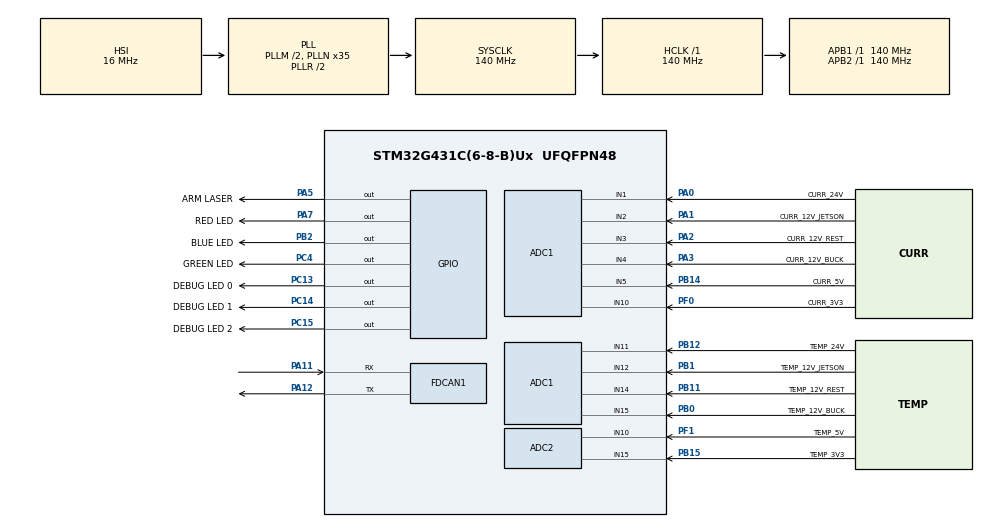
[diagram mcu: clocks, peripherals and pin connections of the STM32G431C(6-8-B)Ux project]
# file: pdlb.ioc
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ADC1.Channel-0\#ChannelRegularConversion=ADC_CHANNEL_1
ADC1.Channel-1\#ChannelRegularConversion=ADC_CHANNEL_2
ADC1.Channel-2\#ChannelRegularConversion=ADC_CHANNEL_3
ADC1.Channel-3\#ChannelRegularConversion=ADC_CHANNEL_4
ADC1.Channel-4\#ChannelRegularConversion=ADC_CHANNEL_5
ADC1.Channel-5\#ChannelRegularConversion=ADC_CHANNEL_10
ADC1.Channel-6\#ChannelRegularConversion=ADC_CHANNEL_11
ADC1.Channel-7\#ChannelRegularConversion=ADC_CHANNEL_12
ADC1.Channel-8\#ChannelRegularConversion=ADC_CHANNEL_14
ADC1.Channel-9\#ChannelRegularConversion=ADC_CHANNEL_15
ADC1.NbrOfConversion=10
ADC1.NbrOfConversionFlag=1
ADC1.OffsetNumber-0\#ChannelRegularConversion=ADC_OFFSET_NONE
ADC1.OffsetNumber-1\#ChannelRegularConversion=ADC_OFFSET_NONE
ADC1.OffsetNumber-2\#ChannelRegularConversion=ADC_OFFSET_NONE
ADC1.OffsetNumber-3\#ChannelRegularConversion=ADC_OFFSET_NONE
ADC1.OffsetNumber-4\#ChannelRegularConversion=ADC_OFFSET_NONE
ADC1.OffsetNumber-5\#ChannelRegularConversion=ADC_OFFSET_NONE
ADC1.OffsetNumber-6\#ChannelRegularConversion=ADC_OFFSET_NONE
ADC1.OffsetNumber-7\#ChannelRegularConversion=ADC_OFFSET_NONE
ADC1.OffsetNumber-8\#ChannelRegularConversion=ADC_OFFSET_NONE
ADC1.OffsetNumber-9\#ChannelRegularConversion=ADC_OFFSET_NONE
ADC1.Rank-0\#ChannelRegularConversion=1
ADC1.Rank-1\#ChannelRegularConversion=2
ADC1.Rank-2\#ChannelRegularConversion=3
ADC1.Rank-3\#ChannelRegularConversion=4
ADC1.Rank-4\#ChannelRegularConversion=5
ADC1.Rank-5\#ChannelRegularConversion=6
ADC1.Rank-6\#ChannelRegularConversion=7
ADC1.Rank-7\#ChannelRegularConversion=8
ADC1.Rank-8\#ChannelRegularConversion=9
ADC1.Rank-9\#ChannelRegularConversion=10
ADC1.SamplingTime-0\#ChannelRegularConversion=ADC_SAMPLETIME_12CYCLES_5
ADC1.SamplingTime-1\#ChannelRegularConversion=ADC_SAMPLETIME_12CYCLES_5
ADC1.SamplingTime-2\#ChannelRegularConversion=ADC_SAMPLETIME_12CYCLES_5
ADC1.SamplingTime-3\#ChannelRegularConversion=ADC_SAMPLETIME_12CYCLES_5
ADC1.SamplingTime-4\#ChannelRegularConversion=ADC_SAMPLETIME_12CYCLES_5
ADC1.SamplingTime-5\#ChannelRegularConversion=ADC_SAMPLETIME_12CYCLES_5
ADC1.SamplingTime-6\#ChannelRegularConversion=ADC_SAMPLETIME_12CYCLES_5
ADC1.SamplingTime-7\#ChannelRegularConversion=ADC_SAMPLETIME_12CYCLES_5
ADC1.SamplingTime-8\#ChannelRegularConversion=ADC_SAMPLETIME_12CYCLES_5
ADC1.SamplingTime-9\#ChannelRegularConversion=ADC_SAMPLETIME_12CYCLES_5
ADC1.master=1
ADC2.Channel-0\#ChannelRegularConversion=ADC_CHANNEL_10
ADC2.Channel-1\#ChannelRegularConversion=ADC_CHANNEL_15
ADC2.NbrOfConversion=2
ADC2.NbrOfConversionFlag=1
ADC2.OffsetNumber-0\#ChannelRegularConversion=ADC_OFFSET_NONE
ADC2.OffsetNumber-1\#ChannelRegularConversion=ADC_OFFSET_NONE
ADC2.Rank-0\#ChannelRegularConversion=1
ADC2.Rank-1\#ChannelRegularConversion=2
ADC2.SamplingTime-0\#ChannelRegularConversion=ADC_SAMPLETIME_640CYCLES_5
ADC2.SamplingTime-1\#ChannelRegularConversion=ADC_SAMPLETIME_640CYCLES_5
Dma.ADC1.0.Direction=DMA_PERIPH_TO_MEMORY
Dma.ADC1.0.EventEnable=DISABLE
Dma.ADC1.0.Instance=DMA1_Channel1
Dma.ADC1.0.MemDataAlignment=DMA_MDATAALIGN_WORD
Dma.ADC1.0.MemInc=DMA_MINC_ENABLE
Dma.ADC1.0.Mode=DMA_NORMAL
Dma.ADC1.0.PeriphDataAlignment=DMA_PDATAALIGN_WORD
Dma.ADC1.0.PeriphInc=DMA_PINC_DISABLE
Dma.ADC1.0.Polarity=HAL_DMAMUX_REQ_GEN_RISING
Dma.ADC1.0.Priority=DMA_PRIORITY_LOW
Dma.ADC1.0.RequestNumber=1
Dma.ADC1.0.SignalID=NONE
Dma.ADC1.0.SyncEnable=DISABLE
Dma.ADC1.0.SyncPolarity=HAL_DMAMUX_SYNC_NO_EVENT
Dma.ADC1.0.SyncRequestNumber=1
Dma.ADC1.0.SyncSignalID=NONE
Dma.ADC2.1.Direction=DMA_PERIPH_TO_MEMORY
Dma.ADC2.1.EventEnable=DISABLE
Dma.ADC2.1.Instance=DMA1_Channel2
Dma.ADC2.1.MemDataAlignment=DMA_MDATAALIGN_WORD
Dma.ADC2.1.MemInc=DMA_MINC_ENABLE
Dma.ADC2.1.Mode=DMA_NORMAL
Dma.ADC2.1.PeriphDataAlignment=DMA_PDATAALIGN_WORD
Dma.ADC2.1.PeriphInc=DMA_PINC_DISABLE
Dma.ADC2.1.Polarity=HAL_DMAMUX_REQ_GEN_RISING
Dma.ADC2.1.Priority=DMA_PRIORITY_LOW
Dma.ADC2.1.RequestNumber=1
Dma.ADC2.1.SignalID=NONE
Dma.ADC2.1.SyncEnable=DISABLE
Dma.ADC2.1.SyncPolarity=HAL_DMAMUX_SYNC_NO_EVENT
Dma.ADC2.1.SyncRequestNumber=1
Dma.ADC2.1.SyncSignalID=NONE
Dma.Request0=ADC1
Dma.Request1=ADC2
FDCAN1.AutoRetransmission=ENABLE
FDCAN1.CalculateBaudRateNominal=1000000
FDCAN1.CalculateTimeBitNominal=1000
FDCAN1.CalculateTimeQuantumNominal=7.142857142857143
FDCAN1.DataPrescaler=5
FDCAN1.DataSyncJumpWidth=13
FDCAN1.DataTimeSeg1=14
FDCAN1.DataTimeSeg2=13
FDCAN1.ExtFiltersNbr=1
FDCAN1.FrameFormat=FDCAN_FRAME_FD_NO_BRS
FDCAN1.NominalPrescaler=1
FDCAN1.NominalSyncJumpWidth=19
FDCAN1.NominalTimeSeg1=120
FDCAN1.NominalTimeSeg2=19
FDCAN1.TransmitPause=DISABLE
FREERTOS.Tasks01=defaultTask,24,128,StartDefaultTask,Default,NULL,Dynamic,NULL,NULL
Mcu.Family=STM32G4
Mcu.Name=STM32G431C(6-8-B)Ux
Mcu.Package=UFQFPN48
NVIC.DMA1_Channel1_IRQn=true\:5\:0\:false\:false\:true\:true\:false\:true\:true
NVIC.DMA1_Channel2_IRQn=true\:5\:0\:false\:false\:true\:true\:false\:true\:true
NVIC.FDCAN1_IT0_IRQn=true\:5\:0\:false\:false\:true\:true\:true\:true\:true
NVIC.FDCAN1_IT1_IRQn=true\:5\:0\:false\:false\:true\:true\:true\:true\:true
NVIC.PriorityGroup=NVIC_PRIORITYGROUP_4
PA0.GPIO_Label=CURR_24V
PA0.Mode=IN1-Single-Ended
PA0.Signal=ADC1_IN1
PA1.GPIO_Label=CURR_12V_JETSON
PA1.Mode=IN2-Single-Ended
PA1.Signal=ADC1_IN2
PA11.Mode=FDCAN_Activate
PA11.Signal=FDCAN1_RX
PA12.Mode=FDCAN_Activate
PA12.Signal=FDCAN1_TX
PA13.Mode=Serial_Wire
PA13.Signal=SYS_JTMS-SWDIO
PA14.Mode=Serial_Wire
PA14.Signal=SYS_JTCK-SWCLK
PA2.GPIO_Label=CURR_12V_REST
PA2.Mode=IN3-Single-Ended
PA2.Signal=ADC1_IN3
PA3.GPIO_Label=CURR_12V_BUCK
PA3.Mode=IN4-Single-Ended
PA3.Signal=ADC1_IN4
PA5.GPIO_Label=ARM LASER
PA5.Signal=GPIO_Output
PA7.GPIO_Label=RED LED
PA7.Signal=GPIO_Output
PB0.GPIO_Label=TEMP_12V_BUCK
PB0.Mode=IN15-Single-Ended
PB0.Signal=ADC1_IN15
PB1.GPIO_Label=TEMP_12V_JETSON
PB1.Mode=IN12-Single-Ended
PB1.Signal=ADC1_IN12
PB11.GPIO_Label=TEMP_12V_REST
PB11.Mode=IN14-Single-Ended
PB11.Signal=ADC1_IN14
PB12.GPIO_Label=TEMP_24V
PB12.Mode=IN11-Single-Ended
PB12.Signal=ADC1_IN11
PB14.GPIO_Label=CURR_5V
PB14.Mode=IN5-Single-Ended
PB14.Signal=ADC1_IN5
PB15.GPIO_Label=TEMP_3V3
PB15.Mode=IN15-Single-Ended
PB15.Signal=ADC2_IN15
PB2.GPIO_Label=BLUE LED
PB2.Signal=GPIO_Output
PC13.GPIO_Label=DEBUG LED 0
PC13.Signal=GPIO_Output
PC14-OSC32_IN.GPIO_Label=DEBUG LED 1
PC14-OSC32_IN.Signal=GPIO_Output
PC15-OSC32_OUT.GPIO_Label=DEBUG LED 2
PC15-OSC32_OUT.Signal=GPIO_Output
PC4.GPIO_Label=GREEN LED
PC4.Signal=GPIO_Output
PF0-OSC_IN.GPIO_Label=CURR_3V3
PF0-OSC_IN.Mode=IN10-Single-Ended
PF0-OSC_IN.Signal=ADC1_IN10
PF1-OSC_OUT.GPIO_Label=TEMP_5V
PF1-OSC_OUT.Mode=IN10-Single-Ended
PF1-OSC_OUT.Signal=ADC2_IN10
ProjectManager.HeapSize=0x200
ProjectManager.StackSize=0x400
ProjectManager.TargetToolchain=STM32CubeIDE
RCC.ADC12Freq_Value=140000000
RCC.AHBFreq_Value=140000000
RCC.APB1Freq_Value=140000000
RCC.APB1TimFreq_Value=140000000
RCC.APB2Freq_Value=140000000
RCC.APB2TimFreq_Value=140000000
RCC.CortexFreq_Value=140000000
RCC.EXTERNAL_CLOCK_VALUE=12288000
RCC.HCLKFreq_Value=140000000
RCC.HSE_VALUE=8000000
RCC.HSI48_VALUE=48000000
RCC.HSI_VALUE=16000000
RCC.LSE_VALUE=32768
RCC.PLLM=RCC_PLLM_DIV2
RCC.PLLN=35
RCC.SYSCLKFreq_VALUE=140000000
RCC.SYSCLKSource=RCC_SYSCLKSOURCE_PLLCLK
RCC.USBFreq_Value=140000000
RCC.VCOOutputFreq_Value=280000000
VP_FREERTOS_VS_CMSIS_V2.Mode=CMSIS_V2
board=custom

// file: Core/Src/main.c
/* USER CODE BEGIN Header */
/**
  ******************************************************************************
  * @file           : main.c
  * @brief          : Main program body
  ******************************************************************************
  * @attention
  *
  * Copyright (c) 2023 STMicroelectronics.
  * All rights reserved.
  *
  * This software is licensed under terms that can be found in the LICENSE file
  * in the root directory of this software component.
  * If no LICENSE file comes with this software, it is provided AS-IS.
  *
  ******************************************************************************
  */
/* USER CODE END Header */
#include "main.h"
#include "cmsis_os.h"

ADC_HandleTypeDef hadc1;
ADC_HandleTypeDef hadc2;
DMA_HandleTypeDef hdma_adc1;
DMA_HandleTypeDef hdma_adc2;

FDCAN_HandleTypeDef hfdcan1;

/* Definitions for defaultTask */
osThreadId_t defaultTaskHandle;
const osThreadAttr_t defaultTask_attributes = {
  .name = "defaultTask",
  .priority = (osPriority_t) osPriorityNormal,
  .stack_size = 128 * 4
};
/* USER CODE BEGIN PV */

// No more FreeRTOS receiving
// osThreadId_t ReceiveMessagesHandle;
// const osThreadAttr_t ReceiveMessages_attributes = {
//   .name = "ReceiveMessages",
//   .priority = (osPriority_t) osPriorityNormal,
//   .stack_size = 128 * 4
// };

osThreadId_t SendCurrentTemperatureHandle;
const osThreadAttr_t SendCurrentTemperature_attributes = {
  .name = "SendCurrentTemperature",
  .priority = (osPriority_t) osPriorityNormal,
  .stack_size = 128 * 4
};

osThreadId_t BlinkAutonLedHandle;
const osThreadAttr_t BlinkAutonLed_attributes = {
  .name = "BlinkAutonLed",
  .priority = (osPriority_t) osPriorityNormal,
  .stack_size = 128 * 4
};

/* USER CODE END PV */

void SystemClock_Config(void);
static void MX_GPIO_Init(void);
static void MX_DMA_Init(void);
static void MX_ADC1_Init(void);
static void MX_FDCAN1_Init(void);
static void MX_ADC2_Init(void);
void StartDefaultTask(void *argument);

/* USER CODE BEGIN PFP */
void SendCurrentTemperature(void *argument);
void BlinkAutonLed(void *argument);

/* USER CODE END PFP */

int main(void)
{

  /* MCU Configuration--------------------------------------------------------*/

  /* Reset of all peripherals, Initializes the Flash interface and the Systick. */
  HAL_Init();

  /* Configure the system clock */
  SystemClock_Config();

  /* USER CODE BEGIN SysInit */

  /* USER CODE BEGIN SysInit */
  // TODO(quintin)  Figure out why the HAL does not configure this properly
  //                See: https://community.st.com/t5/stm32-mcus-products/hal-delay-stuck-systick-not-triggered-workaround-for-stm32f105/td-p/585510
  //                Without this HAL_Delay does not work (SysTick_Handler is never called)
#ifdef VECT_TAB_SRAM
  SCB->VTOR = SRAM_BASE;
#else
  SCB->VTOR = FLASH_BASE;
#endif

  if ((FLASH->OPTR & FLASH_OPTR_nSWBOOT0_Msk) != 0x0 || ((FLASH->OPTR & FLASH_OPTR_nBOOT0_Msk) == 0x0))
      {
          while ((FLASH->SR & FLASH_SR_BSY_Msk) != 0x0) { ; }
          FLASH->KEYR = 0x45670123;
          while ((FLASH->SR & FLASH_SR_BSY_Msk) != 0x0) { ; }
          FLASH->KEYR = 0xCDEF89AB;

          while ((FLASH->SR & FLASH_SR_BSY_Msk) != 0x0) { ; }
          FLASH->OPTKEYR = 0x08192A3B;
          while ((FLASH->SR & FLASH_SR_BSY_Msk) != 0x0) { ; }
          FLASH->OPTKEYR = 0x4C5D6E7F;

          while ((FLASH->SR & FLASH_SR_BSY_Msk) != 0x0) { ; }
          FLASH->OPTR = (FLASH->OPTR & ~(FLASH_OPTR_nSWBOOT0_Msk)) | FLASH_OPTR_nBOOT0_Msk;

          while ((FLASH->SR & FLASH_SR_BSY_Msk) != 0x0) { ; }
          FLASH->CR = FLASH->CR | FLASH_CR_OPTSTRT;

          while ((FLASH->SR & FLASH_SR_BSY_Msk) != 0x0) { ; }
      }

  /* USER CODE END SysInit */

  /* Initialize all configured peripherals */
  MX_GPIO_Init();
  MX_DMA_Init();
  MX_ADC1_Init();
  MX_FDCAN1_Init();
  MX_ADC2_Init();
  /* USER CODE BEGIN 2 */

  init();

  /* USER CODE END 2 */

  /* Init scheduler */
  osKernelInitialize();

  /* Create the thread(s) */
  /* creation of defaultTask */
  defaultTaskHandle = osThreadNew(StartDefaultTask, NULL, &defaultTask_attributes);

  /* USER CODE BEGIN RTOS_THREADS */

  SendCurrentTemperatureHandle = osThreadNew(SendCurrentTemperature, NULL, &SendCurrentTemperature_attributes);
  BlinkAutonLedHandle = osThreadNew(BlinkAutonLed, NULL, &BlinkAutonLed_attributes);
  /* add threads, ... */
  /* USER CODE END RTOS_THREADS */

  /* Start scheduler */
  osKernelStart();

  /* We should never get here as control is now taken by the scheduler */
  /* Infinite loop */
  while (1)
  {

  }
}

void SystemClock_Config(void)
{
  RCC_OscInitTypeDef RCC_OscInitStruct = {0};
  RCC_ClkInitTypeDef RCC_ClkInitStruct = {0};

  /** Configure the main internal regulator output voltage
  */
  HAL_PWREx_ControlVoltageScaling(PWR_REGULATOR_VOLTAGE_SCALE1);

  /** Initializes the RCC Oscillators according to the specified parameters
  * in the RCC_OscInitTypeDef structure.
  */
  RCC_OscInitStruct.OscillatorType = RCC_OSCILLATORTYPE_HSI;
  RCC_OscInitStruct.HSIState = RCC_HSI_ON;
  RCC_OscInitStruct.HSICalibrationValue = RCC_HSICALIBRATION_DEFAULT;
  RCC_OscInitStruct.PLL.PLLState = RCC_PLL_ON;
  RCC_OscInitStruct.PLL.PLLSource = RCC_PLLSOURCE_HSI;
  RCC_OscInitStruct.PLL.PLLM = RCC_PLLM_DIV2;
  RCC_OscInitStruct.PLL.PLLN = 35;
  RCC_OscInitStruct.PLL.PLLP = RCC_PLLP_DIV2;
  RCC_OscInitStruct.PLL.PLLQ = RCC_PLLQ_DIV2;
  RCC_OscInitStruct.PLL.PLLR = RCC_PLLR_DIV2;
  if (HAL_RCC_OscConfig(&RCC_OscInitStruct) != HAL_OK)
  {
    Error_Handler();
  }

  /** Initializes the CPU, AHB and APB buses clocks
  */
  RCC_ClkInitStruct.ClockType = RCC_CLOCKTYPE_HCLK|RCC_CLOCKTYPE_SYSCLK
                              |RCC_CLOCKTYPE_PCLK1|RCC_CLOCKTYPE_PCLK2;
  RCC_ClkInitStruct.SYSCLKSource = RCC_SYSCLKSOURCE_PLLCLK;
  RCC_ClkInitStruct.AHBCLKDivider = RCC_SYSCLK_DIV1;
  RCC_ClkInitStruct.APB1CLKDivider = RCC_HCLK_DIV1;
  RCC_ClkInitStruct.APB2CLKDivider = RCC_HCLK_DIV1;

  if (HAL_RCC_ClockConfig(&RCC_ClkInitStruct, FLASH_LATENCY_4) != HAL_OK)
  {
    Error_Handler();
  }
}

static void MX_ADC1_Init(void)
{

  ADC_MultiModeTypeDef multimode = {0};
  ADC_ChannelConfTypeDef sConfig = {0};

  /** Common config
  */
  hadc1.Instance = ADC1;
  hadc1.Init.ClockPrescaler = ADC_CLOCK_SYNC_PCLK_DIV4;
  hadc1.Init.Resolution = ADC_RESOLUTION_12B;
  hadc1.Init.DataAlign = ADC_DATAALIGN_RIGHT;
  hadc1.Init.GainCompensation = 0;
  hadc1.Init.ScanConvMode = ADC_SCAN_ENABLE;
  hadc1.Init.EOCSelection = ADC_EOC_SINGLE_CONV;
  hadc1.Init.LowPowerAutoWait = DISABLE;
  hadc1.Init.ContinuousConvMode = DISABLE;
  hadc1.Init.NbrOfConversion = 10;
  hadc1.Init.DiscontinuousConvMode = DISABLE;
  hadc1.Init.ExternalTrigConv = ADC_SOFTWARE_START;
  hadc1.Init.ExternalTrigConvEdge = ADC_EXTERNALTRIGCONVEDGE_NONE;
  hadc1.Init.DMAContinuousRequests = DISABLE;
  hadc1.Init.Overrun = ADC_OVR_DATA_PRESERVED;
  hadc1.Init.OversamplingMode = DISABLE;
  if (HAL_ADC_Init(&hadc1) != HAL_OK)
  {
    Error_Handler();
  }

  /** Configure the ADC multi-mode
  */
  multimode.Mode = ADC_MODE_INDEPENDENT;
  if (HAL_ADCEx_MultiModeConfigChannel(&hadc1, &multimode) != HAL_OK)
  {
    Error_Handler();
  }

  /** Configure Regular Channel
  */
  sConfig.Channel = ADC_CHANNEL_1;
  sConfig.Rank = ADC_REGULAR_RANK_1;
  sConfig.SamplingTime = ADC_SAMPLETIME_12CYCLES_5;
  sConfig.SingleDiff = ADC_SINGLE_ENDED;
  sConfig.OffsetNumber = ADC_OFFSET_NONE;
  sConfig.Offset = 0;
  if (HAL_ADC_ConfigChannel(&hadc1, &sConfig) != HAL_OK)
  {
    Error_Handler();
  }

  /** Configure Regular Channel
  */
  sConfig.Channel = ADC_CHANNEL_2;
  sConfig.Rank = ADC_REGULAR_RANK_2;
  if (HAL_ADC_ConfigChannel(&hadc1, &sConfig) != HAL_OK)
  {
    Error_Handler();
  }

  /** Configure Regular Channel
  */
  sConfig.Channel = ADC_CHANNEL_3;
  sConfig.Rank = ADC_REGULAR_RANK_3;
  if (HAL_ADC_ConfigChannel(&hadc1, &sConfig) != HAL_OK)
  {
    Error_Handler();
  }

  /** Configure Regular Channel
  */
  sConfig.Channel = ADC_CHANNEL_4;
  sConfig.Rank = ADC_REGULAR_RANK_4;
  if (HAL_ADC_ConfigChannel(&hadc1, &sConfig) != HAL_OK)
  {
    Error_Handler();
  }

  /** Configure Regular Channel
  */
  sConfig.Channel = ADC_CHANNEL_5;
  sConfig.Rank = ADC_REGULAR_RANK_5;
  if (HAL_ADC_ConfigChannel(&hadc1, &sConfig) != HAL_OK)
  {
    Error_Handler();
  }

  /** Configure Regular Channel
  */
  sConfig.Channel = ADC_CHANNEL_10;
  sConfig.Rank = ADC_REGULAR_RANK_6;
  if (HAL_ADC_ConfigChannel(&hadc1, &sConfig) != HAL_OK)
  {
    Error_Handler();
  }

  /** Configure Regular Channel
  */
  sConfig.Channel = ADC_CHANNEL_11;
  sConfig.Rank = ADC_REGULAR_RANK_7;
  if (HAL_ADC_ConfigChannel(&hadc1, &sConfig) != HAL_OK)
  {
    Error_Handler();
  }

  /** Configure Regular Channel
  */
  sConfig.Channel = ADC_CHANNEL_12;
  sConfig.Rank = ADC_REGULAR_RANK_8;
  if (HAL_ADC_ConfigChannel(&hadc1, &sConfig) != HAL_OK)
  {
    Error_Handler();
  }

  /** Configure Regular Channel
  */
  sConfig.Channel = ADC_CHANNEL_14;
  sConfig.Rank = ADC_REGULAR_RANK_9;
  if (HAL_ADC_ConfigChannel(&hadc1, &sConfig) != HAL_OK)
  {
    Error_Handler();
  }

  /** Configure Regular Channel
  */
  sConfig.Channel = ADC_CHANNEL_15;
  sConfig.Rank = ADC_REGULAR_RANK_10;
  if (HAL_ADC_ConfigChannel(&hadc1, &sConfig) != HAL_OK)
  {
    Error_Handler();
  }

}

static void MX_ADC2_Init(void)
{

  ADC_ChannelConfTypeDef sConfig = {0};

  /** Common config
  */
  hadc2.Instance = ADC2;
  hadc2.Init.ClockPrescaler = ADC_CLOCK_SYNC_PCLK_DIV4;
  hadc2.Init.Resolution = ADC_RESOLUTION_12B;
  hadc2.Init.DataAlign = ADC_DATAALIGN_RIGHT;
  hadc2.Init.GainCompensation = 0;
  hadc2.Init.ScanConvMode = ADC_SCAN_ENABLE;
  hadc2.Init.EOCSelection = ADC_EOC_SINGLE_CONV;
  hadc2.Init.LowPowerAutoWait = DISABLE;
  hadc2.Init.ContinuousConvMode = DISABLE;
  hadc2.Init.NbrOfConversion = 2;
  hadc2.Init.DiscontinuousConvMode = DISABLE;
  hadc2.Init.ExternalTrigConv = ADC_SOFTWARE_START;
  hadc2.Init.ExternalTrigConvEdge = ADC_EXTERNALTRIGCONVEDGE_NONE;
  hadc2.Init.DMAContinuousRequests = DISABLE;
  hadc2.Init.Overrun = ADC_OVR_DATA_PRESERVED;
  hadc2.Init.OversamplingMode = DISABLE;
  if (HAL_ADC_Init(&hadc2) != HAL_OK)
  {
    Error_Handler();
  }

  /** Configure Regular Channel
  */
  sConfig.Channel = ADC_CHANNEL_10;
  sConfig.Rank = ADC_REGULAR_RANK_1;
  sConfig.SamplingTime = ADC_SAMPLETIME_640CYCLES_5;
  sConfig.SingleDiff = ADC_SINGLE_ENDED;
  sConfig.OffsetNumber = ADC_OFFSET_NONE;
  sConfig.Offset = 0;
  if (HAL_ADC_ConfigChannel(&hadc2, &sConfig) != HAL_OK)
  {
    Error_Handler();
  }

  /** Configure Regular Channel
  */
  sConfig.Channel = ADC_CHANNEL_15;
  sConfig.Rank = ADC_REGULAR_RANK_2;
  if (HAL_ADC_ConfigChannel(&hadc2, &sConfig) != HAL_OK)
  {
    Error_Handler();
  }

}

static void MX_FDCAN1_Init(void)
{

  hfdcan1.Instance = FDCAN1;
  hfdcan1.Init.ClockDivider = FDCAN_CLOCK_DIV1;
  hfdcan1.Init.FrameFormat = FDCAN_FRAME_FD_NO_BRS;
  hfdcan1.Init.Mode = FDCAN_MODE_NORMAL;
  hfdcan1.Init.AutoRetransmission = ENABLE;
  hfdcan1.Init.TransmitPause = DISABLE;
  hfdcan1.Init.ProtocolException = DISABLE;
  hfdcan1.Init.NominalPrescaler = 1;
  hfdcan1.Init.NominalSyncJumpWidth = 19;
  hfdcan1.Init.NominalTimeSeg1 = 120;
  hfdcan1.Init.NominalTimeSeg2 = 19;
  hfdcan1.Init.DataPrescaler = 5;
  hfdcan1.Init.DataSyncJumpWidth = 13;
  hfdcan1.Init.DataTimeSeg1 = 14;
  hfdcan1.Init.DataTimeSeg2 = 13;
  hfdcan1.Init.StdFiltersNbr = 0;
  hfdcan1.Init.ExtFiltersNbr = 1;
  hfdcan1.Init.TxFifoQueueMode = FDCAN_TX_FIFO_OPERATION;
  if (HAL_FDCAN_Init(&hfdcan1) != HAL_OK)
  {
    Error_Handler();
  }

}

static void MX_DMA_Init(void)
{

  /* DMA controller clock enable */
  __HAL_RCC_DMAMUX1_CLK_ENABLE();
  __HAL_RCC_DMA1_CLK_ENABLE();

  /* DMA interrupt init */
  /* DMA1_Channel1_IRQn interrupt configuration */
  HAL_NVIC_SetPriority(DMA1_Channel1_IRQn, 5, 0);
  HAL_NVIC_EnableIRQ(DMA1_Channel1_IRQn);
  /* DMA1_Channel2_IRQn interrupt configuration */
  HAL_NVIC_SetPriority(DMA1_Channel2_IRQn, 5, 0);
  HAL_NVIC_EnableIRQ(DMA1_Channel2_IRQn);

}

static void MX_GPIO_Init(void)
{
  GPIO_InitTypeDef GPIO_InitStruct = {0};

  /* GPIO Ports Clock Enable */
  __HAL_RCC_GPIOC_CLK_ENABLE();
  __HAL_RCC_GPIOF_CLK_ENABLE();
  __HAL_RCC_GPIOA_CLK_ENABLE();
  __HAL_RCC_GPIOB_CLK_ENABLE();

  /*Configure GPIO pin Output Level */
  HAL_GPIO_WritePin(GPIOC, DEBUG_LED_0_Pin|DEBUG_LED_1_Pin|DEBUG_LED_2_Pin|GREEN_LED_Pin, GPIO_PIN_RESET);

  /*Configure GPIO pin Output Level */
  HAL_GPIO_WritePin(GPIOA, ARM_LASER_Pin|RED_LED_Pin, GPIO_PIN_RESET);

  /*Configure GPIO pin Output Level */
  HAL_GPIO_WritePin(BLUE_LED_GPIO_Port, BLUE_LED_Pin, GPIO_PIN_RESET);

  /*Configure GPIO pins : DEBUG_LED_0_Pin DEBUG_LED_1_Pin DEBUG_LED_2_Pin GREEN_LED_Pin */
  GPIO_InitStruct.Pin = DEBUG_LED_0_Pin|DEBUG_LED_1_Pin|DEBUG_LED_2_Pin|GREEN_LED_Pin;
  GPIO_InitStruct.Mode = GPIO_MODE_OUTPUT_PP;
  GPIO_InitStruct.Pull = GPIO_NOPULL;
  GPIO_InitStruct.Speed = GPIO_SPEED_FREQ_LOW;
  HAL_GPIO_Init(GPIOC, &GPIO_InitStruct);

  /*Configure GPIO pins : ARM_LASER_Pin RED_LED_Pin */
  GPIO_InitStruct.Pin = ARM_LASER_Pin|RED_LED_Pin;
  GPIO_InitStruct.Mode = GPIO_MODE_OUTPUT_PP;
  GPIO_InitStruct.Pull = GPIO_NOPULL;
  GPIO_InitStruct.Speed = GPIO_SPEED_FREQ_LOW;
  HAL_GPIO_Init(GPIOA, &GPIO_InitStruct);

  /*Configure GPIO pin : BLUE_LED_Pin */
  GPIO_InitStruct.Pin = BLUE_LED_Pin;
  GPIO_InitStruct.Mode = GPIO_MODE_OUTPUT_PP;
  GPIO_InitStruct.Pull = GPIO_NOPULL;
  GPIO_InitStruct.Speed = GPIO_SPEED_FREQ_LOW;
  HAL_GPIO_Init(BLUE_LED_GPIO_Port, &GPIO_InitStruct);

}

/* USER CODE BEGIN 4 */

// No more FreeRTOS receiving
// void ReceiveMessages(void* argument) {
// 	uint32_t tick = osKernelGetTickCount();
// 	for(;;) {
// 		tick += osKernelGetTickFreq(); // 1 Hz
// 		receive_message();
// 		osDelayUntil(tick);
// 	}
// }

// ACCORDING TO STM EXAMPLE:
/**
  * @brief  Rx FIFO 0 callback.
  * @param  hfdcan: pointer to an FDCAN_HandleTypeDef structure that contains
  *         the configuration information for the specified FDCAN.
  * @param  RxFifo0ITs: indicates which Rx FIFO 0 interrupts are signalled.
  *         This parameter can be any combination of @arg FDCAN_Rx_Fifo0_Interrupts.
  * @retval None
*/
void HAL_FDCAN_RxFifo0Callback(FDCAN_HandleTypeDef *hfdcan, uint32_t RxFifo0ITs) {
  if((RxFifo0ITs & FDCAN_IT_RX_FIFO0_NEW_MESSAGE) != RESET)
  {
    receive_message();
  }
}

void SendCurrentTemperature(void* argument) {
	for(;;) {
		uint32_t tick = osKernelGetTickCount() + (osKernelGetTickFreq() / 10.0); // 10 Hz

		update_and_send_current_temp();
		osDelayUntil(tick);
	}
}

void BlinkAutonLed(void* argument) {
	for(;;) {
		uint32_t tick = osKernelGetTickCount() + osKernelGetTickFreq(); // 1 Hz
		blink_led_if_applicable();
		osDelayUntil(tick);
	}
}

/* USER CODE END 4 */

void StartDefaultTask(void *argument)
{
  for(;;)
  {
    osDelay(1);
  }
}

void Error_Handler(void)
{
  __disable_irq();
  while (1)
  {
  }
}
